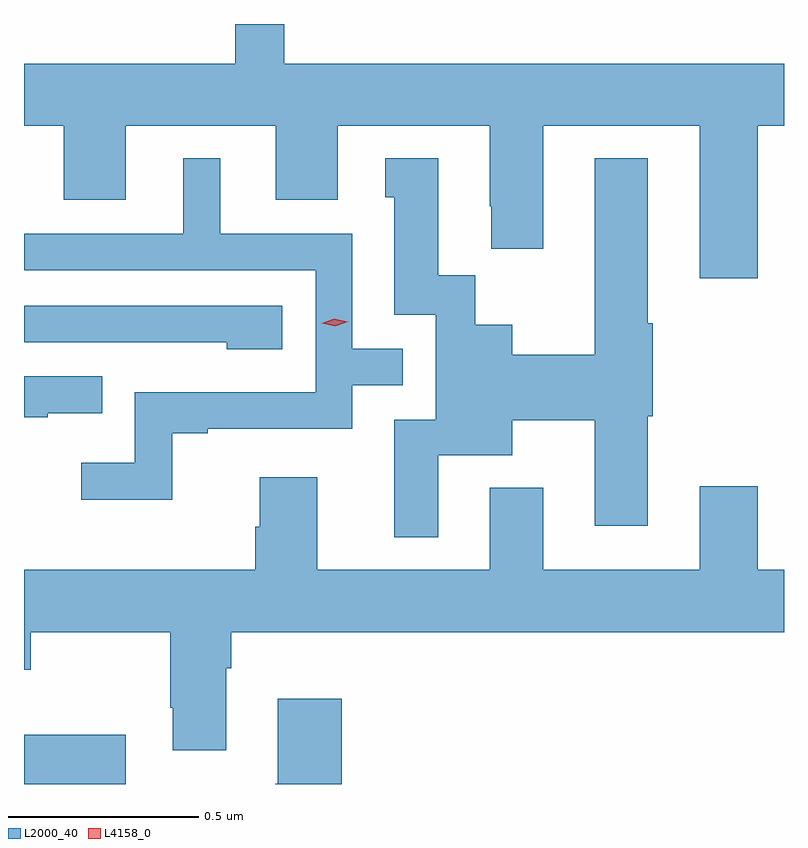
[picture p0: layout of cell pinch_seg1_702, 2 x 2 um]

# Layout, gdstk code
import gdstk
lib = gdstk.Library(unit=1e-6, precision=1e-09)
def R(c, l, rs):  # rectangles x0, y0, x1, y1
    for r in rs: c.add(gdstk.rectangle(r[:2], r[2:], *l))
def P(c, l, *ps):  # polygons
    for p in ps: c.add(gdstk.Polygon(p, *l))
L2000_40 = (2000, 40)
L4158_0 = (4158, 0)

pinch_seg1_702 = lib.new_cell('pinch_seg1_702')
R(pinch_seg1_702, L2000_40, [(650.397,568.648,650.665,568.777)])
P(pinch_seg1_702, L2000_40, [(650.953,570.544),(650.397,570.544),(650.397,570.38),(650.501,570.38),(650.501,570.186),(650.665,570.186),(650.665,570.38),(651.059,570.38),(651.059,570.186),(651.223,570.186),(651.223,570.38),(651.623,570.38),(651.623,570.169),(651.626,570.169),(651.626,570.057),(651.763,570.057),(651.763,570.38),(652.175,570.38),(652.175,569.979),(652.328,569.979),(652.328,570.38),(652.397,570.38),(652.397,570.544),(651.082,570.544),(651.082,570.648),(650.953,570.648)],
  [(651.487,569.513),(651.682,569.513),(651.682,569.605),(651.899,569.605),(651.899,569.328),(652.039,569.328),(652.039,569.616),(652.052,569.616),(652.052,569.86),(652.039,569.86),(652.039,570.295),(651.899,570.295),(651.899,569.777),(651.682,569.777),(651.682,569.857),(651.585,569.857),(651.585,569.987),(651.487,569.987),(651.487,570.295),(651.347,570.295),(651.347,570.192),(651.371,570.192),(651.371,569.883),(651.48,569.883),(651.48,569.607),(651.371,569.607),(651.371,569.298),(651.487,569.298)],
  [(650.787,569.571),(650.881,569.571),(650.881,569.583),(651.261,569.583),(651.261,569.697),(651.394,569.697),(651.394,569.793),(651.261,569.793),(651.261,570.096),(650.914,570.096),(650.914,570.295),(650.816,570.295),(650.816,570.096),(650.397,570.096),(650.397,570),(651.165,570),(651.165,569.679),(650.688,569.679),(650.688,569.494),(650.547,569.494),(650.547,569.396),(650.787,569.396)],
  [(651.076,569.907),(650.397,569.907),(650.397,569.811),(650.695,569.811),(650.695,569.81),(650.931,569.81),(650.931,569.792),(651.076,569.792)],
  [(650.459,569.624),(650.603,569.624),(650.603,569.721),(650.397,569.721),(650.397,569.613),(650.459,569.613)],
  [(650.929,568.952),(650.942,568.952),(650.942,569.048),(652.397,569.048),(652.397,569.212),(652.328,569.212),(652.328,569.431),(652.175,569.431),(652.175,569.212),(651.763,569.212),(651.763,569.428),(651.623,569.428),(651.623,569.212),(651.169,569.212),(651.169,569.455),(651.017,569.455),(651.017,569.325),(651.005,569.325),(651.005,569.212),(650.397,569.212),(650.397,568.949),(650.415,568.949),(650.415,569.048),(650.782,569.048),(650.782,568.849),(650.789,568.849),(650.789,568.737),(650.929,568.737)],
  [(651.233,568.873),(651.065,568.873),(651.065,568.649),(651.058,568.649),(651.058,568.648),(651.233,568.648)])
P(pinch_seg1_702, L4158_0, [(651.216,569.853),(651.181,569.86),(651.18,569.861),(651.181,569.861),(651.214,569.873),(651.249,569.865),(651.25,569.865),(651.249,569.864)])

lib.write_gds('pinch_seg1_702.gds')
